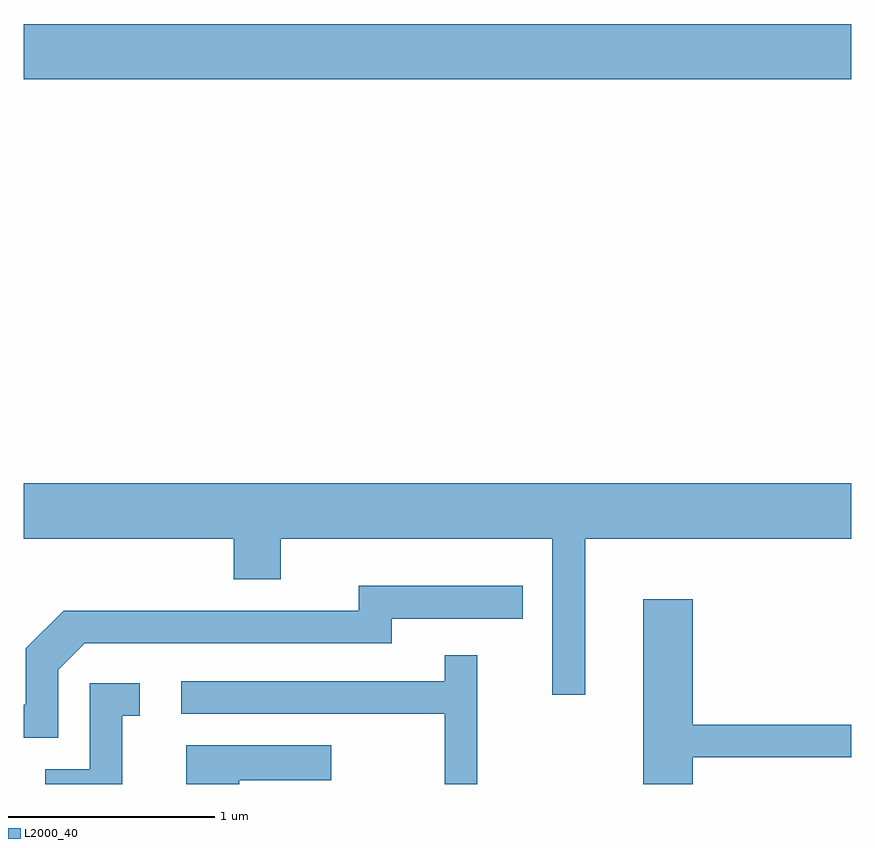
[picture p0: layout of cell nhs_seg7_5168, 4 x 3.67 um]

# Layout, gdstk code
import gdstk
lib = gdstk.Library(unit=1e-6, precision=1e-09)
def R(c, l, rs):  # rectangles x0, y0, x1, y1
    for r in rs: c.add(gdstk.rectangle(r[:2], r[2:], *l))
def P(c, l, *ps):  # polygons
    for p in ps: c.add(gdstk.Polygon(p, *l))
L2000_40 = (2000, 40)

nhs_seg7_5168 = lib.new_cell('nhs_seg7_5168')
R(nhs_seg7_5168, L2000_40, [(343.611,1707.656,347.611,1707.924)])
P(nhs_seg7_5168, L2000_40, [(346.324,1705.436),(347.611,1705.436),(347.611,1705.704),(343.611,1705.704),(343.611,1705.436),(344.626,1705.436),(344.626,1705.241),(344.854,1705.241),(344.854,1705.436),(346.166,1705.436),(346.166,1704.683),(346.324,1704.683)],
  [(343.779,1704.804),(343.907,1704.931),(345.389,1704.931),(345.389,1705.051),(346.023,1705.051),(346.023,1705.209),(345.231,1705.209),(345.231,1705.089),(343.804,1705.089),(343.621,1704.907),(343.621,1704.634),(343.611,1704.634),(343.611,1704.476),(343.779,1704.476)],
  [(346.844,1704.381),(347.611,1704.381),(347.611,1704.539),(346.844,1704.539),(346.844,1705.144),(346.606,1705.144),(346.606,1704.252),(346.844,1704.252)],
  [(345.804,1704.873),(345.646,1704.873),(345.646,1704.749),(344.373,1704.749),(344.373,1704.591),(345.646,1704.591),(345.646,1704.252),(345.804,1704.252)],
  [(344.089,1704.581),(344.173,1704.581),(344.173,1704.739),(343.931,1704.739),(343.931,1704.324),(343.716,1704.324),(343.716,1704.252),(344.089,1704.252)],
  [(344.654,1704.271),(345.098,1704.271),(345.098,1704.439),(344.396,1704.439),(344.396,1704.252),(344.654,1704.252)])

lib.write_gds('nhs_seg7_5168.gds')
